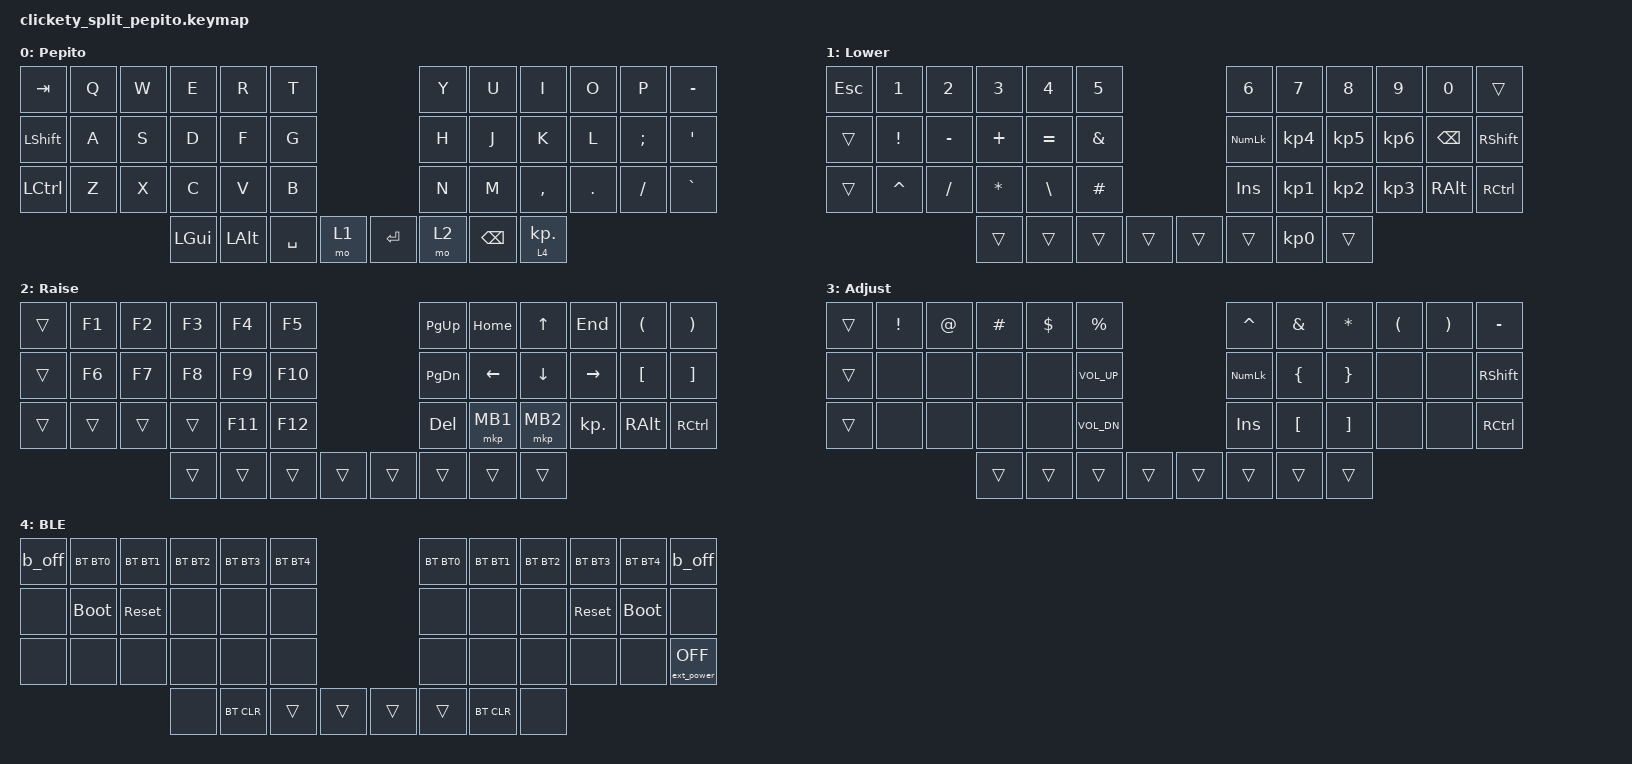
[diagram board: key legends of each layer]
/*
 * Copyright (c) 2024 The ZMK Contributors
 *
 * SPDX-License-Identifier: MIT
 */
#include <behaviors.dtsi>
#include <dt-bindings/zmk/keys.h>
#include <dt-bindings/zmk/bt.h>
#include <dt-bindings/zmk/mouse.h>
#include <dt-bindings/zmk/ext_power.h>

// Layers
#define QW_M    0       // Main
#define QW_L    1       // Lower
#define QW_R    2       // Raise
#define QW_A    3       // Adjust
#define QC_F    4       // Firmware


// Short versions
#define BT0     BT_SEL 0
#define BT1     BT_SEL 1
#define BT2     BT_SEL 2
#define BT3     BT_SEL 3
#define BT4     BT_SEL 4

#define BOOTLDR     &bootloader
#define SYSRSET     &sys_reset

#define VOLUP   C_VOL_UP
#define VOLDN   C_VOL_DN
#define VOLMT   C_MUTE


/ {
    conditional_layers {
        compatible = "zmk,conditional-layers";
        adjust_win_layer {
            if-layers = <1 2>;
            then-layer = <3>;
        };
    };

    macros {
        macro_del_word: macro_del_word {
            compatible = "zmk,behavior-macro";
            #binding-cells = <0>;
            bindings
                = <&macro_press &kp LCTRL>
                , <&macro_tap &kp BSPC>
                , <&macro_release &kp LCTRL>
                ;
        };
    };

    behaviors {
        td_bspc: tap_dance_bspc {
            compatible = "zmk,behavior-tap-dance";
            #binding-cells = <0>;
            tapping-term-ms = <120>;
            bindings = <&kp BSPC>, <&macro_del_word>;
        };
        b_off: soft_off_and_display_off {
            compatible = "zmk,behavior-macro";
            #binding-cells = <0>;
            bindings = <&ext_power EP_OFF>, <&soft_off>;
        };
    };


    keymap {
        compatible = "zmk,keymap";

        default_win_layer {
            display-name = " Pepito";
            bindings = <
&kp TAB    &kp Q      &kp W      &kp E      &kp R      &kp T                            &kp Y      &kp U      &kp I      &kp O      &kp P     &kp MINUS
&kp LSHFT  &kp A      &kp S      &kp D      &kp F      &kp G                            &kp H      &kp J      &kp K      &kp L      &kp SEMI  &kp SQT
&kp LCTRL  &kp Z      &kp X      &kp C      &kp V      &kp B                            &kp N      &kp M      &kp COMMA  &kp DOT    &kp FSLH  &kp GRAVE
                                    &kp LGUI  &kp LALT  &kp SPACE  &mo 1    &kp RET  &mo 2  &kp BSPC  &lt 4 KP_DOT
            >;
        };

        lower_win_layer {
            display-name = " Lower";
            bindings = <
&kp ESC    &kp N1     &kp N2     &kp N3     &kp N4     &kp N5                           &kp N6     &kp N7     &kp N8     &kp N9     &kp N0    &trans
&trans     &kp EXCL   &kp MINUS  &kp PLUS   &kp EQUAL  &kp AMPS                         &kp KP_NUM &kp KP_N4  &kp KP_N5  &kp KP_N6  &kp BSPC  &kp RSHFT
&trans     &kp CARET  &kp FSLH   &kp ASTRK  &kp BSLH   &kp HASH                         &kp INS    &kp KP_N1  &kp KP_N2  &kp KP_N3  &kp RALT  &kp RCTRL
                                 &trans     &trans     &trans     &trans      &trans    &trans     &kp KP_N0  &trans
            >;
        };

        raise_win_layer {
            display-name = " Raise";
            bindings = <
&trans     &kp F1     &kp F2     &kp F3     &kp F4     &kp F5                           &kp PG_UP  &kp HOME   &kp UP     &kp END    &kp LPAR  &kp RPAR
&trans     &kp F6     &kp F7     &kp F8     &kp F9     &kp F10                          &kp PG_DN  &kp LEFT   &kp DOWN   &kp RIGHT  &kp LBKT  &kp RBKT
&trans     &trans     &trans     &trans     &kp F11    &kp F12                          &kp DEL    &mkp MB1   &mkp MB2   &kp KP_DOT &kp RALT  &kp RCTRL
                                 &trans     &trans     &trans     &trans      &trans    &trans     &trans     &trans
            >;
        };

        adjust_win_layer {
            display-name = " Adjust";
            bindings = <
&trans     &kp EXCL   &kp AT     &kp HASH   &kp DLLR   &kp PRCNT                        &kp CARET  &kp AMPS   &kp ASTRK  &kp LPAR   &kp RPAR  &kp MINUS
&trans     &none      &none      &none      &none      &kp VOLUP                        &kp KP_NUM &kp LBRC   &kp RBRC   &none      &none     &kp RSHFT
&trans     &none      &none      &none      &none      &kp VOLDN                        &kp INS    &kp LBKT   &kp RBKT   &none      &none     &kp RCTRL
                                 &trans     &trans     &trans     &trans      &trans    &trans     &trans     &trans
            >;
        };

        firmware_layer {
            display-name = " BLE";
            bindings = <
&b_off      &bt BT0     &bt BT1  &bt BT2    &bt BT3    &bt BT4                          &bt BT0    &bt BT1    &bt BT2    &bt BT3    &bt BT4    &b_off
&none       BOOTLDR     SYSRSET  &none      &none      &none                            &none      &none      &none      SYSRSET    BOOTLDR    &none
&none       &none       &none    &none      &none      &none                            &none      &none      &none      &none      &none      &ext_power EP_OFF
                                 &none      &bt BT_CLR &trans     &trans      &trans    &trans     &bt BT_CLR &none 
            >;
        };
    };
};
